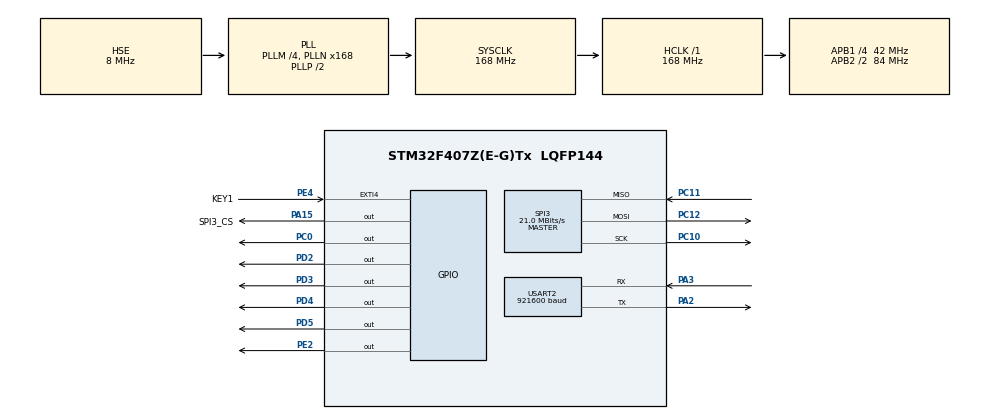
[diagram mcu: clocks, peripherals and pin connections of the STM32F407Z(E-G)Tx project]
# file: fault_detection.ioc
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Mcu.Family=STM32F4
PH0-OSC_IN.Signal=RCC_OSC_IN
RCC.CortexFreq_Value=168000000
SPI3.Direction=SPI_DIRECTION_2LINES
SPI3.VirtualType=VM_MASTER
PC10.Signal=SPI3_SCK
PC12.Signal=SPI3_MOSI
PE2.GPIO_Speed=GPIO_SPEED_FREQ_HIGH
PD2.GPIO_Speed=GPIO_SPEED_FREQ_VERY_HIGH
PD3.GPIO_Speed=GPIO_SPEED_FREQ_VERY_HIGH
RCC.SYSCLKSource=RCC_SYSCLKSOURCE_PLLCLK
ProjectManager.StackSize=0x400
PA15.GPIO_Label=SPI3_CS
RCC.HCLKFreq_Value=168000000
PD4.Signal=GPIO_Output
RCC.APB2TimFreq_Value=168000000
TIM3.Period=2099
RCC.AHBFreq_Value=168000000
PH0-OSC_IN.Mode=HSE-External-Oscillator
SPI3.DataSize=SPI_DATASIZE_16BIT
RCC.HSE_VALUE=8000000
PE2.GPIO_ModeDefaultOutputPP=GPIO_MODE_OUTPUT_PP
PA14.Mode=Serial_Wire
PE4.GPIO_Label=KEY1
PE2.Signal=GPIO_Output
TIM4.Period=3999
PE4.Signal=GPXTI4
PH1-OSC_OUT.Mode=HSE-External-Oscillator
Mcu.Package=LQFP144
SPI3.Mode=SPI_MODE_MASTER
USART2.VirtualMode=VM_ASYNC
PA15.Signal=GPIO_Output
PC11.Mode=Full_Duplex_Master
RCC.APB2CLKDivider=RCC_HCLK_DIV2
RCC.APB1TimFreq_Value=84000000
PD3.GPIO_PuPd=GPIO_PULLDOWN
VP_TIM3_VS_ClockSourceINT.Mode=Internal
PC0.PinState=GPIO_PIN_RESET
PA3.Signal=USART2_RX
RCC.PLLSourceVirtual=RCC_PLLSOURCE_HSE
NVIC.EXTI4_IRQn=true\:0\:0\:false\:false\:true\:true\:true
PD2.GPIO_PuPd=GPIO_PULLDOWN
PE2.PinState=GPIO_PIN_SET
PC11.Signal=SPI3_MISO
PD3.Signal=GPIO_Output
PC10.Mode=Full_Duplex_Master
PE4.GPIO_ModeDefaultEXTI=GPIO_MODE_IT_FALLING
PD5.Signal=GPIO_Output
PC0.Signal=GPIO_Output
RCC.APB1CLKDivider=RCC_HCLK_DIV4
USART2.BaudRate=921600
PA13.Signal=SYS_JTMS-SWDIO
PA3.Mode=Asynchronous
PD4.PinState=GPIO_PIN_SET
PD4.GPIO_PuPd=GPIO_PULLUP
ProjectManager.TargetToolchain=STM32CubeIDE
TIM4.Prescaler=419
RCC.LSE_VALUE=32768
PE2.GPIO_PuPd=GPIO_NOPULL
PC12.Mode=Full_Duplex_Master
board=custom
SPI3.CLKPhase=SPI_PHASE_2EDGE
RCC.VCOOutputFreq_Value=336000000
NVIC.TIM3_IRQn=true\:3\:0\:true\:false\:true\:true\:true
PA15.PinState=GPIO_PIN_SET
RCC.APB2Freq_Value=84000000
SPI3.CalculateBaudRate=21.0 MBits/s
PH1-OSC_OUT.Signal=RCC_OSC_OUT
PD5.GPIO_PuPd=GPIO_PULLUP
PD5.PinState=GPIO_PIN_SET
PA13.Mode=Serial_Wire
Mcu.Name=STM32F407Z(E-G)Tx
PA2.Signal=USART2_TX
PE4.GPIO_PuPd=GPIO_PULLUP
RCC.48MHZClocksFreq_Value=84000000
RCC.SYSCLKFreq_VALUE=168000000
PA15.GPIO_Speed=GPIO_SPEED_FREQ_VERY_HIGH
PA14.Signal=SYS_JTCK-SWCLK
ProjectManager.HeapSize=0x200
RCC.HSI_VALUE=16000000
VP_TIM4_VS_ClockSourceINT.Mode=Internal
NVIC.PriorityGroup=NVIC_PRIORITYGROUP_4
RCC.PLLM=4
RCC.PLLN=168
PA15.GPIO_PuPd=GPIO_PULLUP
PA2.Mode=Asynchronous
PD2.Signal=GPIO_Output
NVIC.TIM4_IRQn=true\:2\:0\:true\:false\:true\:true\:true
RCC.APB1Freq_Value=42000000

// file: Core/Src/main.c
/* USER CODE BEGIN Header */
/**
  ******************************************************************************
  * @file           : main.c
  * @brief          : Main program body
  ******************************************************************************
  * @attention
  *
  * <h2><center>&copy; Copyright (c) 2021 STMicroelectronics.
  * All rights reserved.</center></h2>
  *
  * This software component is licensed by ST under BSD 3-Clause license,
  * the "License"; You may not use this file except in compliance with the
  * License. You may obtain a copy of the License at:
  *                        opensource.org/licenses/BSD-3-Clause
  *
  ******************************************************************************
  */
/* USER CODE END Header */
#include "main.h"

SPI_HandleTypeDef hspi3;

TIM_HandleTypeDef htim3;
TIM_HandleTypeDef htim4;

UART_HandleTypeDef huart2;

/* USER CODE BEGIN PV */
ADS8688 ads;
uint16_t ads_data[8];
uint32_t freq;

//�?????????大�?�和�?????????小�??
uint16_t maxch1=0,maxch2=0,minch1=65535,minch2=65535;
uint16_t maxkongzai,minkongzai,maxdaizai,mindaizai;
float maxch1_f=-10,maxch2_f=-10,minch1_f=10,minch2_f=10;
float maxkongzai_f=0,minkongzai_f=10;
float maxdaizai_f=0,mindaizai_f=10;
uint32_t count_tim3=0;
uint32_t ch1_150K_totall=0,ch1_100_totall=0;
uint32_t ch1_1k_totall=0;
float ch1_150k,ch1_100,ch1_1k;
//PE2 H or L
uint8_t PE2=0;

//TIM4 steps
/*
1     DDS1K      改为带载状�??      �?启TIM4    测CH2 3      并发送测试数�?
2     DDS1K      改为空载状�??      �?启TIM4    测CH2 3      并发送数�?    发�?�后DDS改成150K
3     DDS150K    空载     等待
4     DDS150K	 空载      等待
5     DDS150k    空载     �?启TIM4  测CH1数据         发�?�后DDS改为100
6     DDS100     空载     等待
7     DDS100     空载     等待
8     DDS100     空载    �?启TIM4  测CH1数据        发�?�数据后改为1k
*/
uint8_t steps=1;

/* USER CODE END PV */

void SystemClock_Config(void);
static void MX_GPIO_Init(void);
static void MX_SPI3_Init(void);
static void MX_TIM3_Init(void);
static void MX_USART2_UART_Init(void);
static void MX_TIM4_Init(void);

int main(void)
{

  /* MCU Configuration--------------------------------------------------------*/

  /* Reset of all peripherals, Initializes the Flash interface and the Systick. */
  HAL_Init();

  /* Configure the system clock */
  SystemClock_Config();

  /* Initialize all configured peripherals */
  MX_GPIO_Init();
  MX_SPI3_Init();
  MX_TIM3_Init();
  MX_USART2_UART_Init();
  MX_TIM4_Init();
  /* USER CODE BEGIN 2 */

  ADS8688_Init(&ads, &hspi3, SPI3_CS_GPIO_Port, SPI3_CS_Pin);
  Init_AD9959();

//  HAL_GPIO_WritePin(GPIOA, GPIO_PIN_15, GPIO_PIN_RESET);
//  HAL_SPI_TransmitReceive(&hspi3, temp, ads_data, 2, 10);
//  HAL_GPIO_WritePin(GPIOA, GPIO_PIN_15, GPIO_PIN_SET);

  //TIM3->PSC=9;
  TIM3->ARR=2697;
  //HAL_TIM_Base_Start_IT(&htim3);
  TIM4->ARR=19999;
  Write_frequence(0, 150000);
  //HAL_TIM_Base_Start_IT(&htim4);
  HAL_GPIO_WritePin(GPIOE, GPIO_PIN_2, GPIO_PIN_RESET);
  HAL_TIM_Base_Start_IT(&htim3);

  /* USER CODE END 2 */

  /* Infinite loop */
  while (1)
  {

  }
}

void SystemClock_Config(void)
{
  RCC_OscInitTypeDef RCC_OscInitStruct = {0};
  RCC_ClkInitTypeDef RCC_ClkInitStruct = {0};

  /** Configure the main internal regulator output voltage
  */
  __HAL_RCC_PWR_CLK_ENABLE();
  __HAL_PWR_VOLTAGESCALING_CONFIG(PWR_REGULATOR_VOLTAGE_SCALE1);
  /** Initializes the RCC Oscillators according to the specified parameters
  * in the RCC_OscInitTypeDef structure.
  */
  RCC_OscInitStruct.OscillatorType = RCC_OSCILLATORTYPE_HSE;
  RCC_OscInitStruct.HSEState = RCC_HSE_ON;
  RCC_OscInitStruct.PLL.PLLState = RCC_PLL_ON;
  RCC_OscInitStruct.PLL.PLLSource = RCC_PLLSOURCE_HSE;
  RCC_OscInitStruct.PLL.PLLM = 4;
  RCC_OscInitStruct.PLL.PLLN = 168;
  RCC_OscInitStruct.PLL.PLLP = RCC_PLLP_DIV2;
  RCC_OscInitStruct.PLL.PLLQ = 4;
  if (HAL_RCC_OscConfig(&RCC_OscInitStruct) != HAL_OK)
  {
    Error_Handler();
  }
  /** Initializes the CPU, AHB and APB buses clocks
  */
  RCC_ClkInitStruct.ClockType = RCC_CLOCKTYPE_HCLK|RCC_CLOCKTYPE_SYSCLK
                              |RCC_CLOCKTYPE_PCLK1|RCC_CLOCKTYPE_PCLK2;
  RCC_ClkInitStruct.SYSCLKSource = RCC_SYSCLKSOURCE_PLLCLK;
  RCC_ClkInitStruct.AHBCLKDivider = RCC_SYSCLK_DIV1;
  RCC_ClkInitStruct.APB1CLKDivider = RCC_HCLK_DIV4;
  RCC_ClkInitStruct.APB2CLKDivider = RCC_HCLK_DIV2;

  if (HAL_RCC_ClockConfig(&RCC_ClkInitStruct, FLASH_LATENCY_5) != HAL_OK)
  {
    Error_Handler();
  }
}

static void MX_SPI3_Init(void)
{

  /* SPI3 parameter configuration*/
  hspi3.Instance = SPI3;
  hspi3.Init.Mode = SPI_MODE_MASTER;
  hspi3.Init.Direction = SPI_DIRECTION_2LINES;
  hspi3.Init.DataSize = SPI_DATASIZE_16BIT;
  hspi3.Init.CLKPolarity = SPI_POLARITY_LOW;
  hspi3.Init.CLKPhase = SPI_PHASE_2EDGE;
  hspi3.Init.NSS = SPI_NSS_SOFT;
  hspi3.Init.BaudRatePrescaler = SPI_BAUDRATEPRESCALER_2;
  hspi3.Init.FirstBit = SPI_FIRSTBIT_MSB;
  hspi3.Init.TIMode = SPI_TIMODE_DISABLE;
  hspi3.Init.CRCCalculation = SPI_CRCCALCULATION_DISABLE;
  hspi3.Init.CRCPolynomial = 10;
  if (HAL_SPI_Init(&hspi3) != HAL_OK)
  {
    Error_Handler();
  }

}

static void MX_TIM3_Init(void)
{

  TIM_ClockConfigTypeDef sClockSourceConfig = {0};
  TIM_MasterConfigTypeDef sMasterConfig = {0};

  htim3.Instance = TIM3;
  htim3.Init.Prescaler = 0;
  htim3.Init.CounterMode = TIM_COUNTERMODE_UP;
  htim3.Init.Period = 2099;
  htim3.Init.ClockDivision = TIM_CLOCKDIVISION_DIV1;
  htim3.Init.AutoReloadPreload = TIM_AUTORELOAD_PRELOAD_DISABLE;
  if (HAL_TIM_Base_Init(&htim3) != HAL_OK)
  {
    Error_Handler();
  }
  sClockSourceConfig.ClockSource = TIM_CLOCKSOURCE_INTERNAL;
  if (HAL_TIM_ConfigClockSource(&htim3, &sClockSourceConfig) != HAL_OK)
  {
    Error_Handler();
  }
  sMasterConfig.MasterOutputTrigger = TIM_TRGO_RESET;
  sMasterConfig.MasterSlaveMode = TIM_MASTERSLAVEMODE_DISABLE;
  if (HAL_TIMEx_MasterConfigSynchronization(&htim3, &sMasterConfig) != HAL_OK)
  {
    Error_Handler();
  }

}

static void MX_TIM4_Init(void)
{

  TIM_ClockConfigTypeDef sClockSourceConfig = {0};
  TIM_MasterConfigTypeDef sMasterConfig = {0};

  htim4.Instance = TIM4;
  htim4.Init.Prescaler = 419;
  htim4.Init.CounterMode = TIM_COUNTERMODE_UP;
  htim4.Init.Period = 3999;
  htim4.Init.ClockDivision = TIM_CLOCKDIVISION_DIV1;
  htim4.Init.AutoReloadPreload = TIM_AUTORELOAD_PRELOAD_DISABLE;
  if (HAL_TIM_Base_Init(&htim4) != HAL_OK)
  {
    Error_Handler();
  }
  sClockSourceConfig.ClockSource = TIM_CLOCKSOURCE_INTERNAL;
  if (HAL_TIM_ConfigClockSource(&htim4, &sClockSourceConfig) != HAL_OK)
  {
    Error_Handler();
  }
  sMasterConfig.MasterOutputTrigger = TIM_TRGO_RESET;
  sMasterConfig.MasterSlaveMode = TIM_MASTERSLAVEMODE_DISABLE;
  if (HAL_TIMEx_MasterConfigSynchronization(&htim4, &sMasterConfig) != HAL_OK)
  {
    Error_Handler();
  }

}

static void MX_USART2_UART_Init(void)
{

  huart2.Instance = USART2;
  huart2.Init.BaudRate = 921600;
  huart2.Init.WordLength = UART_WORDLENGTH_8B;
  huart2.Init.StopBits = UART_STOPBITS_1;
  huart2.Init.Parity = UART_PARITY_NONE;
  huart2.Init.Mode = UART_MODE_TX_RX;
  huart2.Init.HwFlowCtl = UART_HWCONTROL_NONE;
  huart2.Init.OverSampling = UART_OVERSAMPLING_16;
  if (HAL_UART_Init(&huart2) != HAL_OK)
  {
    Error_Handler();
  }

}

static void MX_GPIO_Init(void)
{
  GPIO_InitTypeDef GPIO_InitStruct = {0};

  /* GPIO Ports Clock Enable */
  __HAL_RCC_GPIOE_CLK_ENABLE();
  __HAL_RCC_GPIOH_CLK_ENABLE();
  __HAL_RCC_GPIOC_CLK_ENABLE();
  __HAL_RCC_GPIOA_CLK_ENABLE();
  __HAL_RCC_GPIOD_CLK_ENABLE();

  /*Configure GPIO pin Output Level */
  HAL_GPIO_WritePin(GPIOE, GPIO_PIN_2, GPIO_PIN_SET);

  /*Configure GPIO pin Output Level */
  HAL_GPIO_WritePin(GPIOC, GPIO_PIN_0, GPIO_PIN_RESET);

  /*Configure GPIO pin Output Level */
  HAL_GPIO_WritePin(SPI3_CS_GPIO_Port, SPI3_CS_Pin, GPIO_PIN_SET);

  /*Configure GPIO pin Output Level */
  HAL_GPIO_WritePin(GPIOD, GPIO_PIN_2|GPIO_PIN_3, GPIO_PIN_RESET);

  /*Configure GPIO pin Output Level */
  HAL_GPIO_WritePin(GPIOD, GPIO_PIN_4|GPIO_PIN_5, GPIO_PIN_SET);

  /*Configure GPIO pin : PE2 */
  GPIO_InitStruct.Pin = GPIO_PIN_2;
  GPIO_InitStruct.Mode = GPIO_MODE_OUTPUT_PP;
  GPIO_InitStruct.Pull = GPIO_NOPULL;
  GPIO_InitStruct.Speed = GPIO_SPEED_FREQ_HIGH;
  HAL_GPIO_Init(GPIOE, &GPIO_InitStruct);

  /*Configure GPIO pin : KEY1_Pin */
  GPIO_InitStruct.Pin = KEY1_Pin;
  GPIO_InitStruct.Mode = GPIO_MODE_IT_FALLING;
  GPIO_InitStruct.Pull = GPIO_PULLUP;
  HAL_GPIO_Init(KEY1_GPIO_Port, &GPIO_InitStruct);

  /*Configure GPIO pin : PC0 */
  GPIO_InitStruct.Pin = GPIO_PIN_0;
  GPIO_InitStruct.Mode = GPIO_MODE_OUTPUT_PP;
  GPIO_InitStruct.Pull = GPIO_NOPULL;
  GPIO_InitStruct.Speed = GPIO_SPEED_FREQ_LOW;
  HAL_GPIO_Init(GPIOC, &GPIO_InitStruct);

  /*Configure GPIO pin : SPI3_CS_Pin */
  GPIO_InitStruct.Pin = SPI3_CS_Pin;
  GPIO_InitStruct.Mode = GPIO_MODE_OUTPUT_PP;
  GPIO_InitStruct.Pull = GPIO_PULLUP;
  GPIO_InitStruct.Speed = GPIO_SPEED_FREQ_VERY_HIGH;
  HAL_GPIO_Init(SPI3_CS_GPIO_Port, &GPIO_InitStruct);

  /*Configure GPIO pins : PD2 PD3 */
  GPIO_InitStruct.Pin = GPIO_PIN_2|GPIO_PIN_3;
  GPIO_InitStruct.Mode = GPIO_MODE_OUTPUT_PP;
  GPIO_InitStruct.Pull = GPIO_PULLDOWN;
  GPIO_InitStruct.Speed = GPIO_SPEED_FREQ_VERY_HIGH;
  HAL_GPIO_Init(GPIOD, &GPIO_InitStruct);

  /*Configure GPIO pins : PD4 PD5 */
  GPIO_InitStruct.Pin = GPIO_PIN_4|GPIO_PIN_5;
  GPIO_InitStruct.Mode = GPIO_MODE_OUTPUT_PP;
  GPIO_InitStruct.Pull = GPIO_PULLUP;
  GPIO_InitStruct.Speed = GPIO_SPEED_FREQ_LOW;
  HAL_GPIO_Init(GPIOD, &GPIO_InitStruct);

  /* EXTI interrupt init*/
  HAL_NVIC_SetPriority(EXTI4_IRQn, 0, 0);
  HAL_NVIC_EnableIRQ(EXTI4_IRQn);

}

/* USER CODE BEGIN 4 */
char max1print[9],max2print[9],min1print[9],min2print[9],Vpp1[9],Vdc1[9],Vpp2[9],Vdc2[9];
char Vppkongzai[9],Vdckongzai[9],maxkongzaiprint[9],minkongzaiprint[9];
char Vppdaizai[9],Vdcdaizai[9],maxdaizaiprint[9],mindaizaiprint[9];
int count=0;
float Vdc11,Vdc22;
float Vpp11,Vpp22;
float kongzaiVdc,daizaiVdc;
float Ri,Ro;
char Riprint[9],Roprint[9];
uint8_t begin[7]={0xEE,0xB1,0x10,0x00,0x00,0x00,0x01},end[4]={0xFF,0xFC,0xFF,0xFF};

void Dosomething_tim3()
{
	maxch1_f=((int)maxch1-32768)/65536.0*5.12;
	minch1_f=((int)minch1-32768)/65536.0*5.12;

//	ch1_100=((ch1_100_totall*1.0/300)-32768)/65536/5.12;
//	ch1_1k=((ch1_1k_totall*1.0/300)-32768)/65536/5.12;
//	ch1_150k=((ch1_150K_totall*1.0/300)-32768)/65536/5.12;

	maxch2_f=((int)maxch2-32768)/65536.0*5.12;
	minch2_f=((int)minch2-32768)/65536.0*5.12;

	maxdaizai_f=((int)maxdaizai)/65536.0*10.24;
	mindaizai_f=((int)mindaizai)/65536.0*10.24;

	maxkongzai_f=((int)maxkongzai)/65536.0*10.24;
	minkongzai_f=((int)minkongzai)/65536.0*10.24;

	Vpp11=(maxch1_f-minch1_f);
	Vpp22=(maxch2_f-minch2_f);

	Vdc11=(maxch1_f+minch1_f)/2;
	Vdc22=(maxch2_f+minch2_f)/2;

	kongzaiVdc=(maxkongzai_f+minkongzai_f)/2;
	daizaiVdc = (maxdaizai_f+mindaizai_f)/2;

	Ri=Vpp22/(Vpp11-Vpp22)*6.8;
    Ro=(kongzaiVdc-daizaiVdc)/daizaiVdc*1.6;

//	sprintf(max1print,"ch1max:%d\r\r\n",maxch1);
//	sprintf(min1print,"ch1min:%d\r\r\n",minch1);
//	sprintf(Vpp1,"Vpp:%d\r\r\n",maxch1-minch1);
//	sprintf(Vdc1,"Vdc:%d\r\r\n",(maxch1+minch1)/2);

	sprintf(max1print,"%.6f",maxch1_f);
	sprintf(min1print,"%.6f",minch1_f);
	sprintf(Vpp1,"%.6f",Vpp11);
	sprintf(Vdc1,"%.6f",Vdc11);

	sprintf(max2print,"%.6f",maxch2_f);
	sprintf(min2print,"%.6f",minch2_f);
	sprintf(Vpp2,"%.6f",maxch2_f-minch2_f);
	sprintf(Vdc2,"%.6f",Vdc22);

	sprintf(maxkongzaiprint,"%.6f",maxkongzai_f);
	sprintf(minkongzaiprint,"%.6f",minkongzai_f);
	sprintf(Vppkongzai,"%.6f",maxkongzai_f-minkongzai_f);
	sprintf(Vdckongzai,"%.6f",(maxkongzai_f+minkongzai_f)/2);

	sprintf(maxdaizaiprint,"%.6f",maxdaizai_f);
	sprintf(mindaizaiprint,"%.6f",mindaizai_f);
	sprintf(Vppdaizai,"%.6f",maxdaizai_f-mindaizai_f);
	sprintf(Vdcdaizai,"%.6f",(maxdaizai_f+mindaizai_f)/2);

	sprintf(Riprint,"%.6f",Ri);
	sprintf(Roprint,"%.6f",Ro);

	begin[6]=0x01;
	HAL_UART_Transmit(&huart2, begin, 7, 5);
	HAL_UART_Transmit(&huart2, max1print, 9, 5);
	HAL_UART_Transmit(&huart2, end, 4, 5);

	begin[6]=0x02;
	HAL_UART_Transmit(&huart2, begin, 7, 5);
	HAL_UART_Transmit(&huart2, min1print, 9, 5);
	HAL_UART_Transmit(&huart2, end, 4, 5);

	begin[6]=0x03;
	HAL_UART_Transmit(&huart2, begin, 7, 5);
	HAL_UART_Transmit(&huart2, Vpp1, 9, 5);
	HAL_UART_Transmit(&huart2, end, 4, 5);

	begin[6]=0x04;
	HAL_UART_Transmit(&huart2, begin, 7, 5);
	HAL_UART_Transmit(&huart2, Vdc1, 9, 5);
	HAL_UART_Transmit(&huart2, end, 4, 5);

	begin[6]=0x05;
	HAL_UART_Transmit(&huart2, begin, 7, 5);
	HAL_UART_Transmit(&huart2, max2print, 9, 5);
	HAL_UART_Transmit(&huart2, end, 4, 5);

	begin[6]=0x06;
	HAL_UART_Transmit(&huart2, begin, 7, 5);
	HAL_UART_Transmit(&huart2, min2print, 9, 5);
	HAL_UART_Transmit(&huart2, end, 4, 5);

	begin[6]=0x07;
	HAL_UART_Transmit(&huart2, begin, 7, 5);
	HAL_UART_Transmit(&huart2, Vpp2, 9, 5);
	HAL_UART_Transmit(&huart2, end, 4, 5);

	begin[6]=0x08;
	HAL_UART_Transmit(&huart2, begin, 7, 5);
	HAL_UART_Transmit(&huart2, Vdc2, 9, 5);
	HAL_UART_Transmit(&huart2, end, 4, 5);

	begin[6]=0x09;
	HAL_UART_Transmit(&huart2, begin, 7, 5);
	HAL_UART_Transmit(&huart2, maxkongzaiprint, 9, 5);
	HAL_UART_Transmit(&huart2, end, 4, 5);

	begin[6]=0x0a;
	HAL_UART_Transmit(&huart2, begin, 7, 5);
	HAL_UART_Transmit(&huart2, minkongzaiprint, 9, 5);
	HAL_UART_Transmit(&huart2, end, 4, 5);

	begin[6]=0x0b;
	HAL_UART_Transmit(&huart2, begin, 7, 5);
	HAL_UART_Transmit(&huart2, Vppkongzai, 9, 5);
	HAL_UART_Transmit(&huart2, end, 4, 5);

	begin[6]=0x0c;
	HAL_UART_Transmit(&huart2, begin, 7, 5);
	HAL_UART_Transmit(&huart2, Vdckongzai, 9, 5);
	HAL_UART_Transmit(&huart2, end, 4, 5);

	begin[6]=0x0d;
	HAL_UART_Transmit(&huart2, begin, 7, 5);
	HAL_UART_Transmit(&huart2, maxdaizaiprint, 9, 5);
	HAL_UART_Transmit(&huart2, end, 4, 5);

	begin[6]=0x0e;
	HAL_UART_Transmit(&huart2, begin, 7, 5);
	HAL_UART_Transmit(&huart2, mindaizaiprint, 9, 5);
	HAL_UART_Transmit(&huart2, end, 4, 5);

	begin[6]=0x0f;
	HAL_UART_Transmit(&huart2, begin, 7, 5);
	HAL_UART_Transmit(&huart2, Vppdaizai, 9, 5);
	HAL_UART_Transmit(&huart2, end, 4, 5);

	begin[6]=0x10;
	HAL_UART_Transmit(&huart2, begin, 7, 5);
	HAL_UART_Transmit(&huart2, Vdcdaizai, 9, 5);
	HAL_UART_Transmit(&huart2, end, 4, 5);

	begin[6]=0x25;
	HAL_UART_Transmit(&huart2, begin, 7, 5);
	HAL_UART_Transmit(&huart2, Vdcdaizai, 9, 5);
	HAL_UART_Transmit(&huart2, end, 4, 5);

	begin[6]=0x25;
	HAL_UART_Transmit(&huart2, begin, 7, 5);
	HAL_UART_Transmit(&huart2, Riprint, 9, 5);
	HAL_UART_Transmit(&huart2, end, 4, 5);

	begin[6]=0x26;
	HAL_UART_Transmit(&huart2, begin, 7, 5);
	HAL_UART_Transmit(&huart2, Roprint, 9, 5);
	HAL_UART_Transmit(&huart2, end, 4, 5);

	//HAL_UART_Transmit(&huart2, "\r\r\n", 6, 5);

	maxch1=0;
	minch1=65535;
	maxch2=0;
	minch2=65535;
//	maxkongzai=0;
//	minkongzai=65535;

	if(PE2)
	{
		maxkongzai=0;
		minkongzai=65535;
	}
	else
	{
		maxdaizai=0;
		mindaizai=65535;
	}

//	maxdaizai=0;
//	mindaizai=65535;

	//HAL_Delay(300);

	HAL_TIM_Base_Start_IT(&htim3);

}
/* USER CODE END 4 */

void Error_Handler(void)
{
  __disable_irq();
  while (1)
  {
  }
}

/************************ (C) COPYRIGHT STMicroelectronics *****END OF FILE****/
